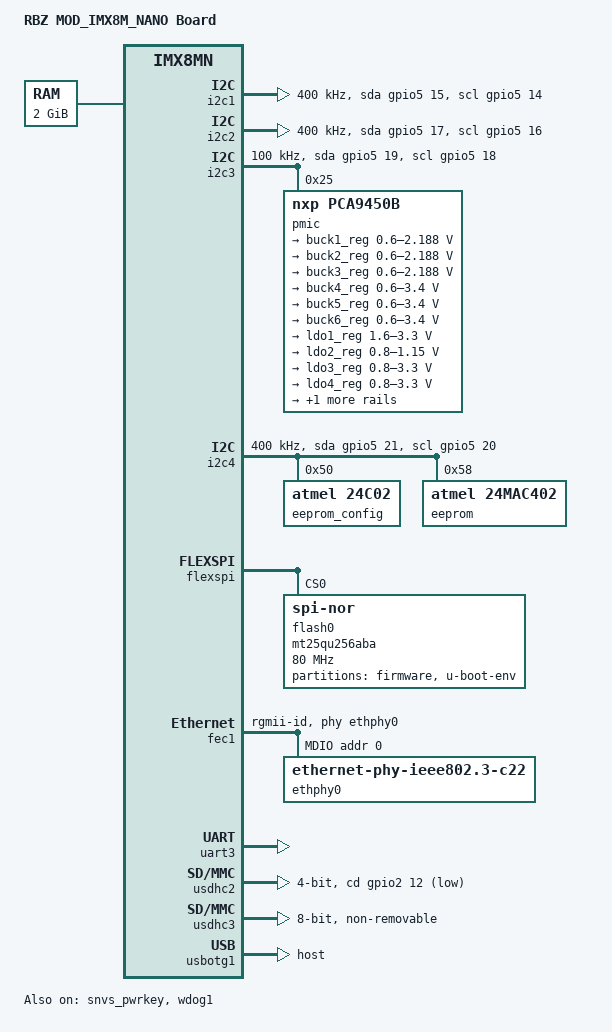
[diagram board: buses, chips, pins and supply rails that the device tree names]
// SPDX-License-Identifier: GPL-2.0+
/*
 * Copyright 2019 NXP
 */

/dts-v1/;

#include <dt-bindings/usb/pd.h>
#include "imx8mn.dtsi"

/ {
	model = "RBZ MOD_IMX8M_NANO Board";
	compatible = "fsl,imx8mn-evk", "fsl,imx8mn";

	chosen {
		bootargs = "console=ttymxc2,115200 earlycon=ec_imx6q,0x30880000,115200";
		stdout-path = &uart3;
        rbz,eeprom = &eeprom;
        rbz,eeprom_config = &eeprom_config;
	};
	
    memory@40000000 {
		device_type = "memory";
		reg = <0x0 0x40000000 0 0x80000000>;
	};
};

&A53_0 {
  cpu-supply = <&buck2_reg>;
};

&A53_1 {
  cpu-supply = <&buck2_reg>;
};

&A53_2 {
  cpu-supply = <&buck2_reg>;
};

&A53_3 {
  cpu-supply = <&buck2_reg>;
};

&iomuxc {
	rbz-mod-imx8mn {

		pinctrl_fec1: fec1grp {
			fsl,pins = <
				MX8MN_IOMUXC_ENET_MDC_ENET1_MDC		0x3
				MX8MN_IOMUXC_ENET_MDIO_ENET1_MDIO	0x3
				MX8MN_IOMUXC_ENET_TD3_ENET1_RGMII_TD3	0x1f
				MX8MN_IOMUXC_ENET_TD2_ENET1_RGMII_TD2	0x1f
				MX8MN_IOMUXC_ENET_TD1_ENET1_RGMII_TD1	0x1f
				MX8MN_IOMUXC_ENET_TD0_ENET1_RGMII_TD0	0x1f
				MX8MN_IOMUXC_ENET_RD3_ENET1_RGMII_RD3	0x91
				MX8MN_IOMUXC_ENET_RD2_ENET1_RGMII_RD2	0x91
				MX8MN_IOMUXC_ENET_RD1_ENET1_RGMII_RD1	0x91
				MX8MN_IOMUXC_ENET_RD0_ENET1_RGMII_RD0	0x91
				MX8MN_IOMUXC_ENET_TXC_ENET1_RGMII_TXC	0x1f
				MX8MN_IOMUXC_ENET_RXC_ENET1_RGMII_RXC	0x91
				MX8MN_IOMUXC_ENET_RX_CTL_ENET1_RGMII_RX_CTL	0x91
				MX8MN_IOMUXC_ENET_TX_CTL_ENET1_RGMII_TX_CTL	0x1f
			>;
		};

		pinctrl_flexspi0: flexspi0grp {
			fsl,pins = <
				MX8MN_IOMUXC_NAND_ALE_QSPI_A_SCLK 0x1c4
				MX8MN_IOMUXC_NAND_CE0_B_QSPI_A_SS0_B 0x84
				MX8MN_IOMUXC_NAND_DATA00_QSPI_A_DATA0 0x84
				MX8MN_IOMUXC_NAND_DATA01_QSPI_A_DATA1 0x84
				MX8MN_IOMUXC_NAND_DATA02_QSPI_A_DATA2 0x84
				MX8MN_IOMUXC_NAND_DATA03_QSPI_A_DATA3 0x84
			>;
		};

		pinctrl_i2c1: i2c1grp {
			fsl,pins = <
				MX8MN_IOMUXC_I2C1_SCL_I2C1_SCL			0x400001c3
				MX8MN_IOMUXC_I2C1_SDA_I2C1_SDA			0x400001c3
			>;
		};

		pinctrl_i2c2: i2c2grp {
			fsl,pins = <
				MX8MN_IOMUXC_I2C2_SCL_I2C2_SCL			0x400001c3
				MX8MN_IOMUXC_I2C2_SDA_I2C2_SDA			0x400001c3
			>;
		};

		pinctrl_i2c3: i2c3grp {
			fsl,pins = <
				MX8MN_IOMUXC_I2C3_SCL_I2C3_SCL			0x400001c3
				MX8MN_IOMUXC_I2C3_SDA_I2C3_SDA			0x400001c3
			>;
		};
	
        pinctrl_i2c4: i2c4grp {
		    fsl,pins = <
			    MX8MN_IOMUXC_I2C4_SCL_I2C4_SCL			0x400001c3
			    MX8MN_IOMUXC_I2C4_SDA_I2C4_SDA			0x400001c3
		    >;
	    };

		pinctrl_i2c1_gpio: i2c1grp-gpio {
			fsl,pins = <
				MX8MN_IOMUXC_I2C1_SCL_GPIO5_IO14		0x1c3
				MX8MN_IOMUXC_I2C1_SDA_GPIO5_IO15		0x1c3
			>;
		};

		pinctrl_i2c2_gpio: i2c2grp-gpio {
			fsl,pins = <
				MX8MN_IOMUXC_I2C2_SCL_GPIO5_IO16		0x1c3
				MX8MN_IOMUXC_I2C2_SDA_GPIO5_IO17		0x1c3
			>;
		};

		pinctrl_i2c3_gpio: i2c3grp-gpio {
			fsl,pins = <
				MX8MN_IOMUXC_I2C3_SCL_GPIO5_IO18		0x1c3
				MX8MN_IOMUXC_I2C3_SDA_GPIO5_IO19		0x1c3
			>;
		};
	
        pinctrl_i2c4_gpio: i2c4grp-gpio {
		    fsl,pins = <
			    MX8MN_IOMUXC_I2C4_SCL_GPIO5_IO20        0x1c3
			    MX8MN_IOMUXC_I2C4_SDA_GPIO5_IO21        0x1c3
		    >;
	    };
  
		pinctrl_uart3: uart3grp {
			fsl,pins = <
			    MX8MN_IOMUXC_UART3_TXD_UART3_DCE_TX	0x140
			    MX8MN_IOMUXC_UART3_RXD_UART3_DCE_RX	0x140
			>;
		};
		
		pinctrl_usdhc2_gpio: usdhc2grpgpio {
			fsl,pins = <
				MX8MN_IOMUXC_GPIO1_IO15_GPIO1_IO15	0x190
			    MX8MN_IOMUXC_SD2_CD_B_GPIO2_IO12	0x1c4
			>;
		};

		pinctrl_usdhc2: usdhc2grp {
			fsl,pins = <
				MX8MN_IOMUXC_SD2_CLK_USDHC2_CLK		0x190
				MX8MN_IOMUXC_SD2_CMD_USDHC2_CMD		0x1d0
				MX8MN_IOMUXC_SD2_DATA0_USDHC2_DATA0	0x1d0
				MX8MN_IOMUXC_SD2_DATA1_USDHC2_DATA1	0x1d0
				MX8MN_IOMUXC_SD2_DATA2_USDHC2_DATA2	0x1d0
				MX8MN_IOMUXC_SD2_DATA3_USDHC2_DATA3	0x1d0
			>;
		};

		pinctrl_usdhc2_100mhz: usdhc2grp100mhz {
			fsl,pins = <
				MX8MN_IOMUXC_SD2_CLK_USDHC2_CLK		0x194
				MX8MN_IOMUXC_SD2_CMD_USDHC2_CMD		0x1d4
				MX8MN_IOMUXC_SD2_DATA0_USDHC2_DATA0	0x1d4
				MX8MN_IOMUXC_SD2_DATA1_USDHC2_DATA1	0x1d4
				MX8MN_IOMUXC_SD2_DATA2_USDHC2_DATA2	0x1d4
				MX8MN_IOMUXC_SD2_DATA3_USDHC2_DATA3	0x1d4
			>;
		};

		pinctrl_usdhc2_200mhz: usdhc2grp200mhz {
			fsl,pins = <
				MX8MN_IOMUXC_SD2_CLK_USDHC2_CLK		0x196
				MX8MN_IOMUXC_SD2_CMD_USDHC2_CMD		0x1d6
				MX8MN_IOMUXC_SD2_DATA0_USDHC2_DATA0	0x1d6
				MX8MN_IOMUXC_SD2_DATA1_USDHC2_DATA1	0x1d6
				MX8MN_IOMUXC_SD2_DATA2_USDHC2_DATA2	0x1d6
				MX8MN_IOMUXC_SD2_DATA3_USDHC2_DATA3	0x1d6
			>;
		};

		pinctrl_usdhc3: usdhc3grp {
			fsl,pins = <
				MX8MN_IOMUXC_NAND_WE_B_USDHC3_CLK		0x40000190
				MX8MN_IOMUXC_NAND_WP_B_USDHC3_CMD		0x1d0
				MX8MN_IOMUXC_NAND_DATA04_USDHC3_DATA0		0x1d0
				MX8MN_IOMUXC_NAND_DATA05_USDHC3_DATA1		0x1d0
				MX8MN_IOMUXC_NAND_DATA06_USDHC3_DATA2		0x1d0
				MX8MN_IOMUXC_NAND_DATA07_USDHC3_DATA3		0x1d0
				MX8MN_IOMUXC_NAND_RE_B_USDHC3_DATA4		0x1d0
				MX8MN_IOMUXC_NAND_CE2_B_USDHC3_DATA5		0x1d0
				MX8MN_IOMUXC_NAND_CE3_B_USDHC3_DATA6		0x1d0
				MX8MN_IOMUXC_NAND_CLE_USDHC3_DATA7		0x1d0
                MX8MN_IOMUXC_NAND_READY_B_USDHC3_RESET_B    0x190
				MX8MN_IOMUXC_NAND_CE1_B_USDHC3_STROBE 		0x190
			>;
		};

		pinctrl_usdhc3_100mhz: usdhc3grp100mhz {
			fsl,pins = <
				MX8MN_IOMUXC_NAND_WE_B_USDHC3_CLK		0x40000194
				MX8MN_IOMUXC_NAND_WP_B_USDHC3_CMD		0x1d4
				MX8MN_IOMUXC_NAND_DATA04_USDHC3_DATA0		0x1d4
				MX8MN_IOMUXC_NAND_DATA05_USDHC3_DATA1		0x1d4
				MX8MN_IOMUXC_NAND_DATA06_USDHC3_DATA2		0x1d4
				MX8MN_IOMUXC_NAND_DATA07_USDHC3_DATA3		0x1d4
				MX8MN_IOMUXC_NAND_RE_B_USDHC3_DATA4		0x1d4
				MX8MN_IOMUXC_NAND_CE2_B_USDHC3_DATA5		0x1d4
				MX8MN_IOMUXC_NAND_CE3_B_USDHC3_DATA6		0x1d4
				MX8MN_IOMUXC_NAND_CLE_USDHC3_DATA7		0x1d4
                MX8MN_IOMUXC_NAND_READY_B_USDHC3_RESET_B    0x194
				MX8MN_IOMUXC_NAND_CE1_B_USDHC3_STROBE 		0x194
			>;
		};

		pinctrl_usdhc3_200mhz: usdhc3grp200mhz {
			fsl,pins = <
				MX8MN_IOMUXC_NAND_WE_B_USDHC3_CLK		0x40000196
				MX8MN_IOMUXC_NAND_WP_B_USDHC3_CMD		0x1d6
				MX8MN_IOMUXC_NAND_DATA04_USDHC3_DATA0		0x1d6
				MX8MN_IOMUXC_NAND_DATA05_USDHC3_DATA1		0x1d6
				MX8MN_IOMUXC_NAND_DATA06_USDHC3_DATA2		0x1d6
				MX8MN_IOMUXC_NAND_DATA07_USDHC3_DATA3		0x1d6
				MX8MN_IOMUXC_NAND_RE_B_USDHC3_DATA4		0x1d6
				MX8MN_IOMUXC_NAND_CE2_B_USDHC3_DATA5		0x1d6
				MX8MN_IOMUXC_NAND_CE3_B_USDHC3_DATA6		0x1d6
				MX8MN_IOMUXC_NAND_CLE_USDHC3_DATA7		0x1d6
                MX8MN_IOMUXC_NAND_READY_B_USDHC3_RESET_B    0x196
				MX8MN_IOMUXC_NAND_CE1_B_USDHC3_STROBE 		0x196
			>;
		};

		pinctrl_wdog: wdoggrp {
			fsl,pins = <
				MX8MN_IOMUXC_GPIO1_IO02_WDOG1_WDOG_B		0xc6
			>;
		};
	};
};

&i2c1 {
	clock-frequency = <400000>;
	pinctrl-names = "default", "gpio";
	pinctrl-0 = <&pinctrl_i2c1>;
	pinctrl-1 = <&pinctrl_i2c1_gpio>;
	scl-gpios = <&gpio5 14 GPIO_ACTIVE_HIGH>;
	sda-gpios = <&gpio5 15 GPIO_ACTIVE_HIGH>;
	status = "okay";
};

&i2c2 {
	clock-frequency = <400000>;
	pinctrl-names = "default", "gpio";
	pinctrl-0 = <&pinctrl_i2c2>;
	pinctrl-1 = <&pinctrl_i2c2_gpio>;
	scl-gpios = <&gpio5 16 GPIO_ACTIVE_HIGH>;
	sda-gpios = <&gpio5 17 GPIO_ACTIVE_HIGH>;
	status = "okay";
};

&i2c3 {
	clock-frequency = <100000>;
	pinctrl-names = "default", "gpio";
	pinctrl-0 = <&pinctrl_i2c3>;
	pinctrl-1 = <&pinctrl_i2c3_gpio>;
	scl-gpios = <&gpio5 18 GPIO_ACTIVE_HIGH>;
	sda-gpios = <&gpio5 19 GPIO_ACTIVE_HIGH>;
	status = "okay";

	pmic: pca9450@25 {
		reg = <0x25>;
		compatible = "nxp,pca9450b";

		regulators {
			#address-cells = <1>;
			#size-cells = <0>;

			pca9450,pmic-buck2-uses-i2c-dvs;
			/* Run/Standby voltage */
			pca9450,pmic-buck2-dvs-voltage = <950000>, <850000>;

			buck1_reg: regulator@0 {
				reg = <0>;
				regulator-compatible = "buck1";
				regulator-min-microvolt = <600000>;
				regulator-max-microvolt = <2187500>;
				regulator-boot-on;
				regulator-always-on;
				regulator-ramp-delay = <3125>;
			};

			buck2_reg: regulator@1 {
				reg = <1>;
				regulator-compatible = "buck2";
				regulator-min-microvolt = <600000>;
				regulator-max-microvolt = <2187500>;
				regulator-boot-on;
				regulator-always-on;
				regulator-ramp-delay = <3125>;
			};

			buck3_reg: regulator@2 {
				reg = <2>;
				regulator-compatible = "buck3";
				regulator-min-microvolt = <600000>;
				regulator-max-microvolt = <2187500>;
				regulator-boot-on;
				regulator-always-on;
			};

			buck4_reg: regulator@3 {
				reg = <3>;
				regulator-compatible = "buck4";
				regulator-min-microvolt = <600000>;
				regulator-max-microvolt = <3400000>;
				regulator-boot-on;
				regulator-always-on;
			};

			buck5_reg: regulator@4 {
				reg = <4>;
				regulator-compatible = "buck5";
				regulator-min-microvolt = <600000>;
				regulator-max-microvolt = <3400000>;
				regulator-boot-on;
				regulator-always-on;
			};

			buck6_reg: regulator@5 {
				reg = <5>;
				regulator-compatible = "buck6";
				regulator-min-microvolt = <600000>;
				regulator-max-microvolt = <3400000>;
				regulator-boot-on;
				regulator-always-on;
			};

			ldo1_reg: regulator@6 {
				reg = <6>;
				regulator-compatible = "ldo1";
				regulator-min-microvolt = <1600000>;
				regulator-max-microvolt = <3300000>;
				regulator-boot-on;
				regulator-always-on;
			};

			ldo2_reg: regulator@7 {
				reg = <7>;
				regulator-compatible = "ldo2";
				regulator-min-microvolt = <800000>;
				regulator-max-microvolt = <1150000>;
				regulator-boot-on;
				regulator-always-on;
			};

			ldo3_reg: regulator@8 {
				reg = <8>;
				regulator-compatible = "ldo3";
				regulator-min-microvolt = <800000>;
				regulator-max-microvolt = <3300000>;
				regulator-boot-on;
				regulator-always-on;
			};

			ldo4_reg: regulator@9 {
				reg = <9>;
				regulator-compatible = "ldo4";
				regulator-min-microvolt = <800000>;
				regulator-max-microvolt = <3300000>;
				regulator-boot-on;
				regulator-always-on;
			};

			ldo5_reg: regulator@10 {
				reg = <10>;
				regulator-compatible = "ldo5";
				regulator-min-microvolt = <1800000>;
				regulator-max-microvolt = <3300000>;
			};

		};
	};
};

&i2c4 {
	clock-frequency = <400000>;
	pinctrl-names = "default", "gpio";
	pinctrl-0 = <&pinctrl_i2c4>;
	pinctrl-1 = <&pinctrl_i2c4_gpio>;
	scl-gpios = <&gpio5 20 GPIO_ACTIVE_HIGH>;
	sda-gpios = <&gpio5 21 GPIO_ACTIVE_HIGH>;
    status = "okay";

    eeprom_config: eeprom_config@50 {
      compatible = "atmel,24c02";
      reg = <0x50>;
    };

    eeprom: eeprom@58 {
        compatible = "atmel,24mac402";
        reg = <0x58>;
    };
};
&flexspi {
	pinctrl-names = "default";
	pinctrl-0 = <&pinctrl_flexspi0>;
	status = "okay";

	flash0: mt25qu256aba@0 {
		reg = <0>;
		compatible = "jedec,spi-nor", "spi-flash";
		spi-max-frequency = <80000000>;
		spi-tx-bus-width = <4>;
		spi-rx-bus-width = <4>;

        partitions {
          compatible = "fixed-partitions";
          #address-cells = <1>;
          #size-cells = <1>;
          
          partition@firmware {
            reg = <0 CONFIG_ENV_OFFSET>;
            label = "firmware";
          };

          partition@u-boot-env {
            reg = <CONFIG_ENV_OFFSET CONFIG_ENV_SIZE>;
            label = "u-boot-env";
          };
        };
	};
};

&fec1 {
	pinctrl-names = "default";
	pinctrl-0 = <&pinctrl_fec1>;
	phy-mode = "rgmii-id";
	phy-handle = <&ethphy0>;
	fsl,magic-packet;
	status = "okay";

	mdio {
		#address-cells = <1>;
		#size-cells = <0>;

		ethphy0: ethernet-phy@0 {
			compatible = "ethernet-phy-ieee802.3-c22";
			reg = <0>;
		};
	};
};

&snvs_pwrkey {
	status = "okay";
};

&uart3 { /* console */
	pinctrl-names = "default";
	pinctrl-0 = <&pinctrl_uart3>;
	status = "okay";
};

&usdhc2 {
	pinctrl-names = "default", "state_100mhz", "state_200mhz";
	pinctrl-0 = <&pinctrl_usdhc2>, <&pinctrl_usdhc2_gpio>;
	pinctrl-1 = <&pinctrl_usdhc2_100mhz>, <&pinctrl_usdhc2_gpio>;
	pinctrl-2 = <&pinctrl_usdhc2_200mhz>, <&pinctrl_usdhc2_gpio>;
	cd-gpios = <&gpio2 12 GPIO_ACTIVE_LOW>;
    /* Assert GPIO1_IO15 low for 3V3 (default) or high for 1.8V */
    pinctrl-assert-gpios = <&gpio1 15 GPIO_ACTIVE_LOW>;
	bus-width = <4>;
    no-1-8-v;
	status = "okay";
};

&usdhc3 {
	/*pinctrl-names = "default", "state_100mhz", "state_200mhz";*/
	pinctrl-names = "default", "state_100mhz";
	pinctrl-0 = <&pinctrl_usdhc3>;
	pinctrl-1 = <&pinctrl_usdhc3_100mhz>;
	/*pinctrl-2 = <&pinctrl_usdhc3_200mhz>;*/
	bus-width = <8>;
	non-removable;
	status = "okay";
};

&wdog1 {
	pinctrl-names = "default";
	pinctrl-0 = <&pinctrl_wdog>;
	fsl,ext-reset-output;
	status = "okay";
};

&usbotg1 {
    dr_mode = "host";
	status = "okay";
};
